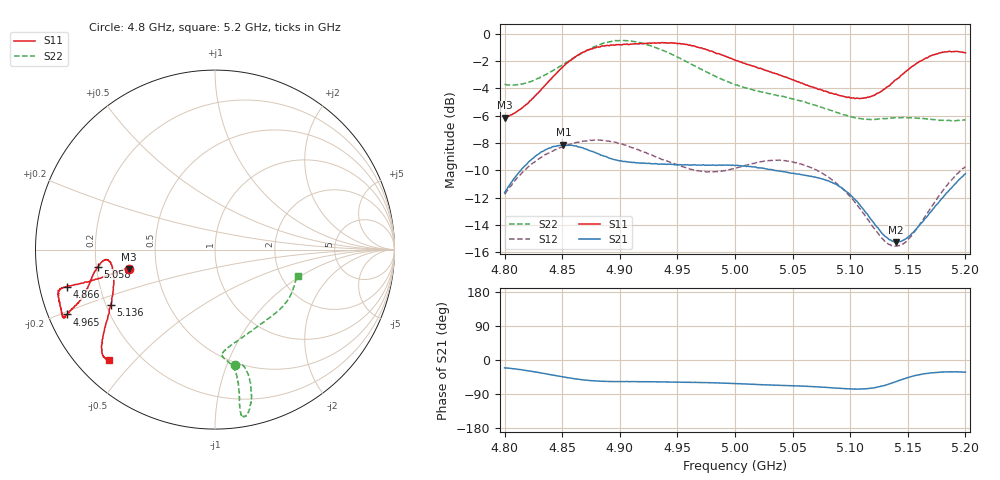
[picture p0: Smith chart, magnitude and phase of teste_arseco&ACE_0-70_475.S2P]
! Network Analyzer HP8722D
! Hewlett-Packard
! Data name: Linha & Wilkinson
! Saver's name: Rodrigo Anjos
! Comments: Teste da utilização de aquisição
! continua pelo VNA HP8722D
! Time and date: 8/5/2025 16:43
!  Frequency  S11  S21  S12  S22
# HZ  S  MA R 50
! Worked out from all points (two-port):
!   401 points, 4.8 GHz to 5.2 GHz, reference 50 ohm
!   highest |S21| = -8.12 dB at 4.851 GHz (marker M1); lowest = -15.2 dB at 5.14 GHz (marker M2)
!   |S21| within 3 dB of the highest: 4.804 GHz to 5.09 GHz (285.7 MHz wide, 5.78 % of centre); 5.189664 GHz to end of sweep
!   lowest |S11| = -6.1 dB at 4.8 GHz (marker M3), VSWR 2.95, Z = 17.1 - j4.89 ohm
!   |S11| at or under -10 dB: nowhere
!   |S22| runs from -6.4 to -0.5 dB; largest |S21 - S12| = 0.62
!   S11 on the Smith chart (normalised r, x): 4.8 GHz: 0.34, -0.10; 4.866 GHz: 0.08, -0.12; 4.965 GHz: 0.05, -0.21; 5.058 GHz: 0.21, -0.07; 5.136 GHz: 0.22, -0.24; 5.2 GHz: 0.09, -0.42
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4.8e9  0.4934 -167.4  0.2621 -20.8  0.2584 -141.9  0.6523 -80.2
4.827e9  0.5948 -166.6  0.3569 -31.6  0.3422 -146.1  0.6798 -75.7
4.851e9  0.7594 -165.8  0.3926 -44.9  0.3867 -150.5  0.7734 -75.2
4.866e9  0.8474 -165.9  0.3837 -51.5  0.4027 -152.8  0.8435 -76.0
4.867e9  0.851 -166.0  0.3835 -52.1  0.4035 -153.0  0.8507 -76.2
4.898e9  0.9119 -163.1  0.3444 -56.8  0.3977 -157.1  0.9427 -79.7
4.914e9  0.9179 -159.9  0.3376 -56.9  0.3792 -157.5  0.9353 -80.9
4.934e9  0.9267 -156.7  0.3328 -57.8  0.3513 -155.9  0.88 -81.0
4.965e9  0.9002 -156.4  0.3317 -59.2  0.317 -148.9  0.7621 -80.1
5e9  0.8004 -159.4  0.3295 -62.2  0.3223 -137.7  0.6517 -81.7
5.037e9  0.7118 -166.5  0.3152 -66.5  0.3441 -135.2  0.5931 -86.1
5.058e9  0.6603 -171.7  0.3052 -69.0  0.3328 -137.0  0.5668 -84.6
5.067e9  0.6386 -173.4  0.3003 -70.1  0.3225 -137.7  0.5513 -82.6
5.083e9  0.6065 -174.7  0.2864 -73.2  0.295 -139.2  0.5248 -76.5
5.099e9  0.5863 -172.1  0.26 -76.2  0.2558 -139.5  0.4983 -67.3
5.115e9  0.586 -165.0  0.2187 -75.5  0.2098 -135.6  0.4867 -55.7
5.134e9  0.645 -153.2  0.1763 -63.1  0.1693 -118.6  0.4909 -42.9
5.136e9  0.6584 -152.1  0.175 -61.0  0.1677 -116.1  0.4908 -41.5
5.14e9  0.6796 -150.1  0.1732 -56.8  0.1671 -110.7  0.492 -39.3
5.151e9  0.744 -145.1  0.1817 -45.6  0.1783 -96.8  0.4924 -33.6
5.171e9  0.8334 -139.5  0.2259 -33.7  0.234 -81.6  0.4853 -24.7
5.2e9  0.8518 -133.8  0.3076 -32.1  0.3268 -77.7  0.4836 -17.8
